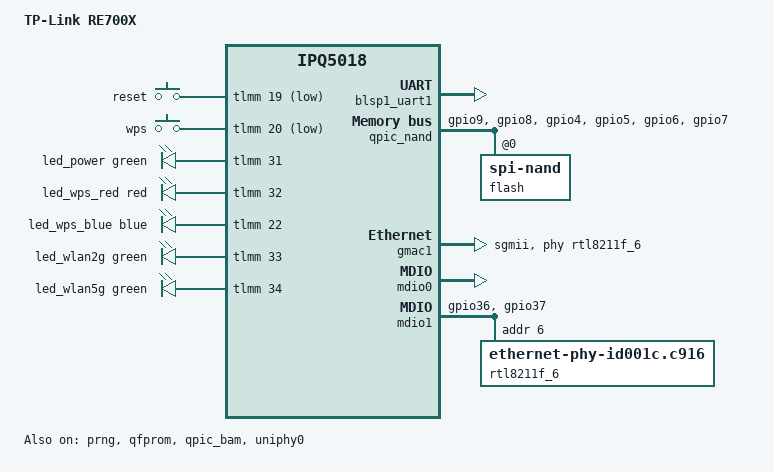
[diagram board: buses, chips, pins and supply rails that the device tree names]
// SPDX-License-Identifier: GPL-2.0-or-later OR MIT

/dts-v1/;

#include "ipq5018.dtsi"
#include "ipq5018-ess.dtsi"
#include "ipq5018-qcn6122.dtsi"

#include <dt-bindings/gpio/gpio.h>
#include <dt-bindings/input/input.h>
#include <dt-bindings/leds/common.h>

/ {
	model = "TP-Link RE700X";
	compatible = "tplink,re700x", "qcom,ipq5018";

	aliases {
		serial0 = &blsp1_uart1;
		led-boot = &led_wps_blue;
		led-failsafe = &led_wps_blue;
		led-running = &led_wps_blue;
		led-upgrade = &led_wps_blue;
	};

	chosen {
		/*
		 * Slot-aware dual-boot: the stock U-Boot passes a slot-correct
		 * cmdline ("ubi.mtd=rootfs" or "ubi.mtd=rootfs_1" depending on
		 * tp_boot_idx) but with "root=mtd:ubi_rootfs", which mainline
		 * cannot mount. Inherit U-Boot's slot-correct ubi.mtd and only
		 * append our own root= (last root= wins, overriding the bogus
		 * one) plus coherent_pool for the ath11k 2.4 GHz DMA. This boots
		 * OpenWrt from whichever slot the flasher wrote -> no more brick.
		 */
		bootargs-append = " root=/dev/ubiblock0_1 coherent_pool=2M";
		stdout-path = "serial0:115200n8";
	};

	keys {
		compatible = "gpio-keys-polled";
		poll-interval = <100>;
		pinctrl-0 = <&button_pins>;
		pinctrl-names = "default";

		button-reset {
			label = "reset";
			gpios = <&tlmm 19 GPIO_ACTIVE_LOW>;
			linux,code = <KEY_RESTART>;
		};

		button-wps {
			label = "wps";
			gpios = <&tlmm 20 GPIO_ACTIVE_LOW>;
			linux,code = <KEY_WPS_BUTTON>;
		};
	};

	leds {
		compatible = "gpio-leds";
		pinctrl-0 = <&led_pins>;
		pinctrl-names = "default";

		/*
		 * All five front-panel LEDs confirmed by GPIO output sweep:
		 * power 31, wps-red 32, wps-blue 22, wlan2g 33, wlan5g 34
		 * (all active-high). The stock DTB LED GPIOs were all wrong.
		 */
		led_power: power {
			gpios = <&tlmm 31 GPIO_ACTIVE_HIGH>;
			color = <LED_COLOR_ID_GREEN>;
			function = LED_FUNCTION_POWER;
			default-state = "on";
		};

		led_wps_red: wps-red {
			gpios = <&tlmm 32 GPIO_ACTIVE_HIGH>;
			color = <LED_COLOR_ID_RED>;
			function = LED_FUNCTION_WPS;
			default-state = "off";
		};

		led_wps_blue: wps-blue {
			gpios = <&tlmm 22 GPIO_ACTIVE_HIGH>;
			color = <LED_COLOR_ID_BLUE>;
			function = LED_FUNCTION_WPS;
			default-state = "off";
		};

		led_wlan2g: wlan-2g {
			gpios = <&tlmm 33 GPIO_ACTIVE_HIGH>;
			color = <LED_COLOR_ID_GREEN>;
			function = LED_FUNCTION_WLAN_2GHZ;
			default-state = "off";
		};

		led_wlan5g: wlan-5g {
			gpios = <&tlmm 34 GPIO_ACTIVE_HIGH>;
			color = <LED_COLOR_ID_GREEN>;
			function = LED_FUNCTION_WLAN_5GHZ;
			default-state = "off";
		};
	};
};

&sleep_clk {
	clock-frequency = <32000>;
};

&xo_board_clk {
	clock-div = <4>;
	clock-mult = <1>;
};

&blsp1_uart1 {
	status = "okay";
};

&prng {
	status = "okay";
};

&qfprom {
	status = "okay";
};

&qpic_bam {
	status = "okay";
};

&qpic_nand {
	pinctrl-0 = <&qpic_pins>;
	pinctrl-names = "default";
	status = "okay";

	flash@0 {
		compatible = "spi-nand";
		reg = <0>;
		nand-ecc-engine = <&qpic_nand>;

		/* strength=8 breaks NAND I/O, use 4 instead */
		nand-ecc-strength = <4>;
		nand-ecc-step-size = <512>;
		nand-bus-width = <8>;

		partitions {
			compatible = "qcom,smem-part";
		};
	};
};

/*
 * Ethernet: a single Gigabit port.
 *
 *   IPQ5018 MAC1 --- SGMII (uniphy0) ---> Realtek RTL8211F @ MDIO1 addr 6
 *
 * The SoC's internal GE PHY (MAC0/gmac0) is not wired to any external
 * port on this device, so only MAC1 is enabled. U-Boot enumerates this
 * port as eth1/MAC1 with PHY ID 0x001cc916 (RTL8211F).
 */
&uniphy0 {
	status = "okay";

	assigned-clocks = <&uniphy0 UNIPHY_CLK_REF>;
	assigned-clock-rates = <UNIPHY_REFCLK_25MHZ>;
};

/* MAC1 --- SGMII ---> RTL8211F */
&gmac1 {
	status = "okay";

	label = "lan";

	phy-mode = "sgmii";
	phy-handle = <&rtl8211f_6>;
};

&mdio0 {
	/*
	 * Not used for a port, but its probe sets TCSR ETH_LDO_RDY, which
	 * tells the CMN PLL that the ethernet LDO is up. All other ipq5018
	 * boards enable it; with it disabled the RTL8211F on MDIO1 did not
	 * answer (-ETIMEDOUT).
	 */
	status = "okay";
};

&mdio1 {
	status = "okay";

	pinctrl-0 = <&mdio1_pins>;
	pinctrl-names = "default";

	rtl8211f_6: ethernet-phy@6 {
		compatible = "ethernet-phy-id001c.c916";
		reg = <6>;
		/*
		 * No reset-gpios: the stock DTB claimed gpio33 as the PHY
		 * reset, but gpio33 is actually the 2.4G LED (confirmed by
		 * GPIO sweep). U-Boot brings the PHY up and the link is
		 * stable without a Linux-side reset.
		 */
	};
};

&tlmm {
	button_pins: button-state {
		pins = "gpio19", "gpio20";
		function = "gpio";
		drive-strength = <8>;
		bias-pull-up;
	};

	led_pins: led-state {
		pins = "gpio22", "gpio31", "gpio32", "gpio33", "gpio34";
		function = "gpio";
		drive-strength = <8>;
		bias-pull-down;
	};

	mdio1_pins: mdio-state {
		mdc-pins {
			pins = "gpio36";
			function = "mdc";
			drive-strength = <8>;
			bias-pull-up;
		};

		mdio-pins {
			pins = "gpio37";
			function = "mdio";
			drive-strength = <8>;
			bias-pull-up;
		};
	};

	qpic_pins: qpic-state {
		clock-pins {
			pins = "gpio9";
			function = "qspi_clk";
			drive-strength = <8>;
			bias-disable;
		};

		cs-pins {
			pins = "gpio8";
			function = "qspi_cs";
			drive-strength = <8>;
			bias-disable;
		};

		data-pins {
			pins = "gpio4", "gpio5", "gpio6", "gpio7";
			function = "qspi_data";
			drive-strength = <8>;
			bias-disable;
		};
	};
};

&q6v5_wcss {
	/*
	 * Stock boot-args, decoded from the stock FIT config@mp02.1 DTB.
	 * Format per radio: <PCIE-index, length, userPD-id, reset-gpio,
	 * resv, resv>. Group A (UPD3): PCIE0, gpio15. Group B (UPD2 = our
	 * QCN6122): PCIE1, reset gpio27 - a board-specific override of the
	 * firmware UPD2 default gpio18. This is what lets the QCN6122 userpd
	 * finish init instead of stalling in the DOG watchdog.
	 */
	boot-args = <1 4 3 15 0 0  2 4 2 27 0 0>;
};

&wifi {
	/*
	 * Disabled for now: with the default ath11k DP ring sizes both radios
	 * exhaust the 256 MiB of RAM. To be enabled together with the ath11k
	 * patch that selects smaller rings on low-memory boards.
	 */
	status = "disabled";

	qcom,rproc = <&q6_wcss_pd1>;
	qcom,ath11k-calibration-variant = "TP-Link-RE700X";
	qcom,ath11k-fw-memory-mode = <1>;
	qcom,bdf-addr = <0x4c400000>;

	ieee80211-freq-limit = <2400000 2483000>;
};

&wifi1 {
	/*
	 * QCN6122 5 GHz. Uses the canonical OpenWrt PD2 memory layout
	 * (bdf 0x4d100000 / m3-dump 0x4df00000) and the stock-derived
	 * q6v5_wcss boot-args above, which put UPD2 on PCIE1 with reset
	 * GPIO 27. This combination lets the userpd finish init and keeps
	 * both ath11k radios online.
	 *
	 * Disabled for now, see &wifi.
	 */
	status = "disabled";

	qcom,rproc = <&q6_wcss_pd2>;
	qcom,userpd-subsys-name = "q6v5_wcss_userpd2";
	qcom,ath11k-calibration-variant = "TP-Link-RE700X";
	qcom,ath11k-fw-memory-mode = <1>;
	qcom,bdf-addr = <0x4d100000>;
	qcom,m3-dump-addr = <0x4df00000>;

	ieee80211-freq-limit = <5150000 5730000>;
};
